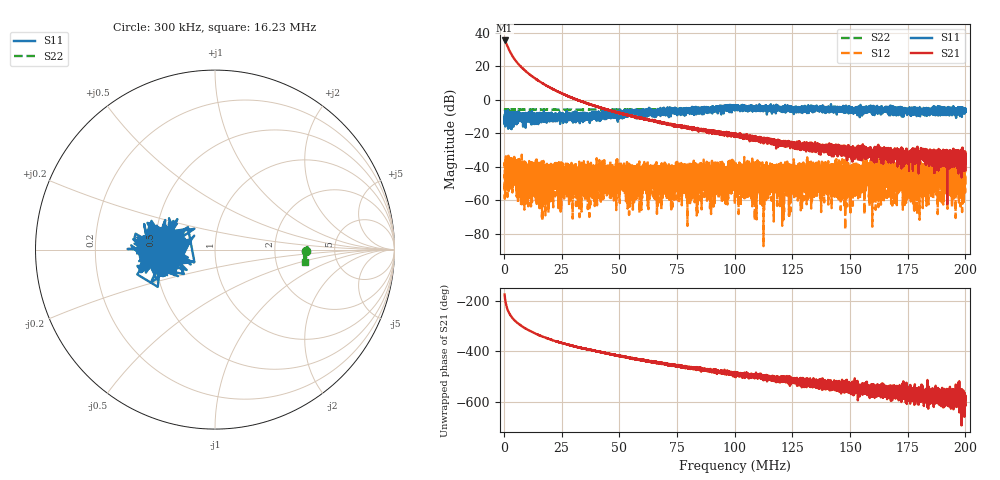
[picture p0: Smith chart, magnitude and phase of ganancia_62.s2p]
# Hz S DB R 50
! CMT, M5065, 19127446, 24.2.4/2
! Date: 10/29/2024 12:54:17 PM
! Data: Format (Calibration Info)
! Freq	S11:dB/Ang(F2)	S21:dB/Ang(F2)	S12:dB/Ang(F2)	S22:dB/Ang(F2)
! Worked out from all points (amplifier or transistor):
!   9000 points, 300 kHz to 200 MHz, reference 50 ohm
!   highest |S21| = 35.4 dB at 300 kHz (marker M1)
!   |S21| within 3 dB of that: start of sweep to 1.394 MHz
!   unconditionally stable (mu >= 1): 1.065 MHz to 1.167 MHz; 2.255 MHz to 2.841 MHz; 2.859 MHz to end of sweep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
!   at 33.59 MHz: K = 154.05, MAG = 0.9 dB, |S12| = -52.5 dB
!   at 100.2 MHz: K = 559.13, MAG = -16.9 dB, |S12| = -47.1 dB
!   at 200 MHz: K = 2068.13, MAG = -32.8 dB, |S12| = -42.0 dB
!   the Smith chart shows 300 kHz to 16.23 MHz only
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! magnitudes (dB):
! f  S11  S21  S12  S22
! 300 kHz  -10.4  35.4  -40.6  -5.9
! 5.138 MHz  -11.6  23.2  -37.8  -5.9
! 11.33 MHz  -12.0  14.9  -45.1  -6.0
! 19.83 MHz  -11.2  7.3  -46.9  -5.9
! 22.05 MHz  -11.4  5.7  -52.5  -5.9
! 24.04 MHz  -12.1  4.5  -44.2  -5.9
! 33.59 MHz  -9.5  -1.0  -52.5  -5.9
! 66.87 MHz  -8.2  -13.5  -57.6  -5.7
! 81.81 MHz  -7.0  -17.6  -41.0  -5.7
! 83.61 MHz  -6.2  -17.3  -44.5  -5.7
! 85.74 MHz  -6.7  -18.0  -47.7  -5.6
! 88.95 MHz  -6.2  -19.4  -45.2  -5.7
! 100.2 MHz  -4.9  -20.0  -47.1  -5.7
! 103.4 MHz  -5.7  -22.1  -56.1  -5.6
! 107.6 MHz  -4.9  -23.8  -40.2  -5.6
! 112.7 MHz  -5.4  -23.9  -42.6  -5.6
! 118.6 MHz  -5.6  -24.7  -43.1  -5.5
! 124.5 MHz  -4.2  -27.0  -53.7  -5.5
! 133.4 MHz  -4.6  -28.4  -45.2  -5.4
! 166.7 MHz  -7.3  -33.6  -41.6  -5.3
! 187 MHz  -7.7  -34.2  -45.1  -5.5
! 200 MHz  -7.0  -35.2  -42.0  -5.5
